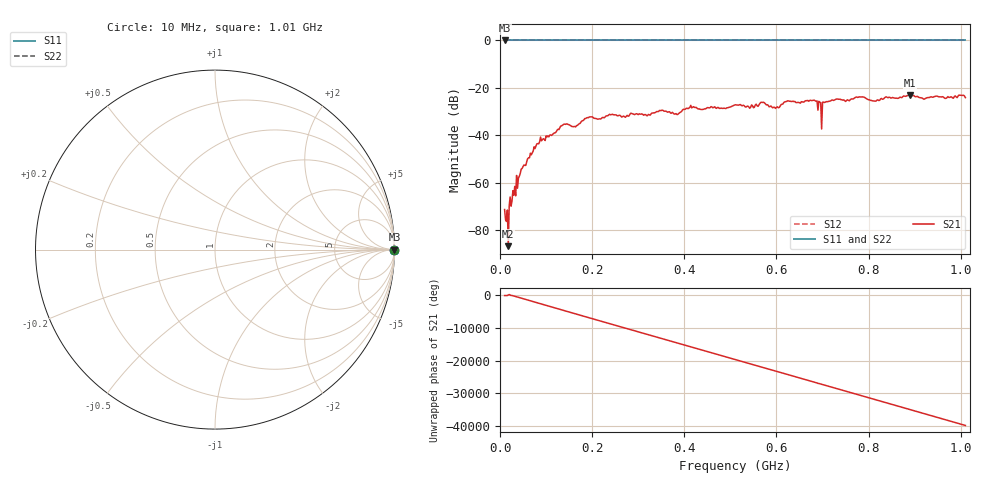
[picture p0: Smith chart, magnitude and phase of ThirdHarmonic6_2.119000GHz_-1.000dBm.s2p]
! 8/17/2025 1:20:11 AM
! C:\ANRITSUVNA\TEMP\TEMP.S2P
! CHANNEL.1
! TR.MEASUREMENT
! RAW.DATA
! RF.CORRECTION.OFF
! AVERAGING.OFF
! IF.BANDWIDTH: 5KHZ
! SWEEPTYPE:  FREQ.SWEEP(Linear)
! Reference Plane Port Info
! PORT:  PORT1  PORT2
! DISTANCE:  0  m  0  m
! TIME:  0  s  0  s
! PHASE.OFFSET:  0  deg.  0  deg.
! LOSS:  0  dB  0  dB
! REF.LOSS:  0  dB  0  dB
! REF.FREQ:  0  Hz  0  Hz
! Power Info
! POWER:  -20  dBm  -20  dBm
! EFF.POWER:  -20  dBm  -20  dBm
! SOURCE.ATTEN:  0  dB  0  dB
! TEST.ATTEN:  0  dB  0  dB
# GHZ S RI R 50.0
! FREQ.GHZ  S11RE  S11IM  S21RE  S21IM  S12RE  S12IM  S22RE  S22IM
!; PortSelection: Port_12
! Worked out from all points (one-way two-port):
!   501 points, 10 MHz to 1.01 GHz, reference 50 ohm
!   highest |S21| = -22.99 dB at 890 MHz (marker M1); lowest = -86.8 dB at 18 MHz (marker M2)
!   lowest |S11| = 0.0 dB at 10 MHz (marker M3)
!   |S11| at or under -10 dB: nowhere
!   |S22| runs from 0.0 to 0.0 dB; largest |S21 - S12| = 1.1
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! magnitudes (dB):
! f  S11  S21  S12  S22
! 10 MHz  0.0  -71.3  0.0  0.0
! 14 MHz  0.0  -76.3  0.0  0.0
! 18 MHz  0.0  -86.8  0.0  0.0
! 48 MHz  0.0  -54.0  0.0  0.0
! 84 MHz  0.0  -43.6  0.0  0.0
! 136 MHz  0.0  -35.7  0.0  0.0
! 178 MHz  0.0  -33.9  0.0  0.0
! 344 MHz  0.0  -30.0  0.0  0.0
! 382 MHz  0.0  -30.9  0.0  0.0
! 416 MHz  0.0  -28.4  0.0  0.0
! 510 MHz  0.0  -27.2  0.0  0.0
! 570 MHz  0.0  -26.1  0.0  0.0
! 602 MHz  0.0  -28.0  0.0  0.0
! 622 MHz  0.0  -25.7  0.0  0.0
! 678 MHz  0.0  -25.3  0.0  0.0
! 692 MHz  0.0  -25.7  0.0  0.0
! 694 MHz  0.0  -26.0  0.0  0.0
! 704 MHz  0.0  -26.2  0.0  0.0
! 730 MHz  0.0  -24.7  0.0  0.0
! 844 MHz  0.0  -23.9  0.0  0.0
! 890 MHz  0.0  -23.0  0.0  0.0
! 1.01 GHz  0.0  -24.1  0.0  0.0
